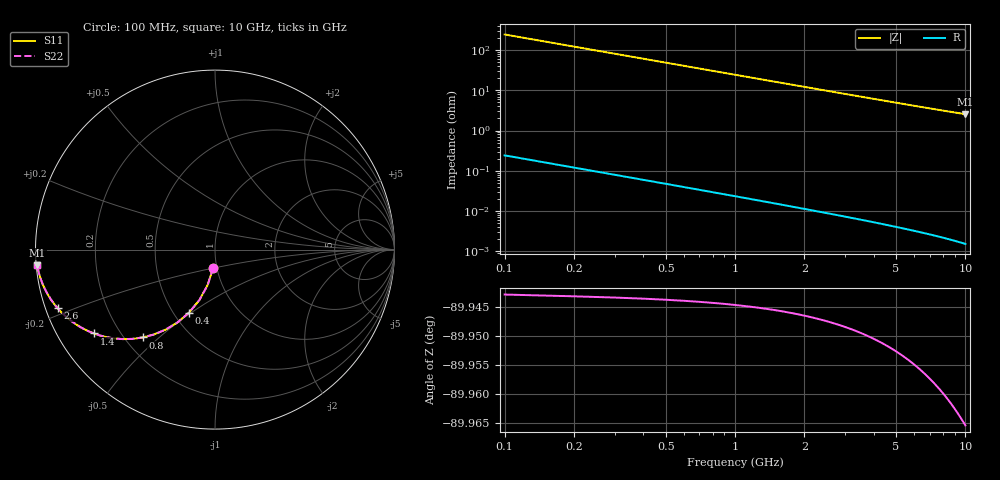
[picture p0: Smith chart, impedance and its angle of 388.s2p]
# Hz S RI R 50.00
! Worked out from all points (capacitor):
!   100 points, 100 MHz to 10 GHz, reference 50 ohm
!   read as one part in shunt: C = 6.55 pF near 100 MHz
!   lowest |Z| = 2.56 ohm at 10 GHz (marker M1)
!   S11 on the Smith chart (normalised r, x): 100 MHz: 0.96, -0.20; 400 MHz: 0.60, -0.49; 800 MHz: 0.27, -0.44; 1.4 GHz: 0.11, -0.31; 2.6 GHz: 0.03, -0.18; 10 GHz: 0.00, -0.04
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1e8  -0.0105 -0.1017  0.9894 -0.1018  0.9894 -0.1018  -0.0105 -0.1017
2e8  -0.0408 -0.1972  0.9592 -0.1974  0.9592 -0.1974  -0.0408 -0.1972
3e8  -0.0872 -0.2814  0.9128 -0.2818  0.9128 -0.2818  -0.0872 -0.2814
4e8  -0.145 -0.3514  0.8549 -0.3519  0.8549 -0.3519  -0.145 -0.3514
5e8  -0.2094 -0.4061  0.7905 -0.4067  0.7905 -0.4067  -0.2094 -0.4061
6e8  -0.276 -0.4462  0.7239 -0.4469  0.7239 -0.4469  -0.276 -0.4462
7e8  -0.3416 -0.4733  0.6583 -0.4742  0.6583 -0.4742  -0.3416 -0.4733
8e8  -0.4039 -0.4897  0.5961 -0.4907  0.5961 -0.4907  -0.4039 -0.4897
9e8  -0.4615 -0.4975  0.5384 -0.4986  0.5384 -0.4986  -0.4615 -0.4975
1.1e9  -0.5614 -0.495  0.4385 -0.4964  0.4385 -0.4964  -0.5614 -0.495
1.2e9  -0.6036 -0.4879  0.3963 -0.4894  0.3963 -0.4894  -0.6036 -0.4879
1.4e9  -0.6745 -0.4672  0.3254 -0.4689  0.3254 -0.4689  -0.6745 -0.4672
1.6e9  -0.7302 -0.4424  0.2698 -0.4443  0.2698 -0.4443  -0.7302 -0.4424
1.8e9  -0.7739 -0.4166  0.226 -0.4189  0.226 -0.4189  -0.7739 -0.4166
2.2e9  -0.8364 -0.368  0.1635 -0.3707  0.1635 -0.3707  -0.8364 -0.368
2.6e9  -0.8771 -0.3261  0.1228 -0.3293  0.1228 -0.3293  -0.8771 -0.3261
3.4e9  -0.9243 -0.2619  0.0756 -0.2661  0.0756 -0.2661  -0.9243 -0.2619
4.2e9  -0.949 -0.2167  0.0509 -0.2219  0.0509 -0.2219  -0.949 -0.2167
5.1e9  -0.9649 -0.1802  0.035 -0.1866  0.035 -0.1866  -0.9649 -0.1802
6.7e9  -0.9794 -0.1371  0.0205 -0.1456  0.0205 -0.1456  -0.9794 -0.1371
8.4e9  -0.9868 -0.1077  0.013 -0.1185  0.013 -0.1185  -0.9868 -0.1077
1e10  -0.9907 -0.0884  0.00911 -0.1013  0.00911 -0.1013  -0.9907 -0.0884
